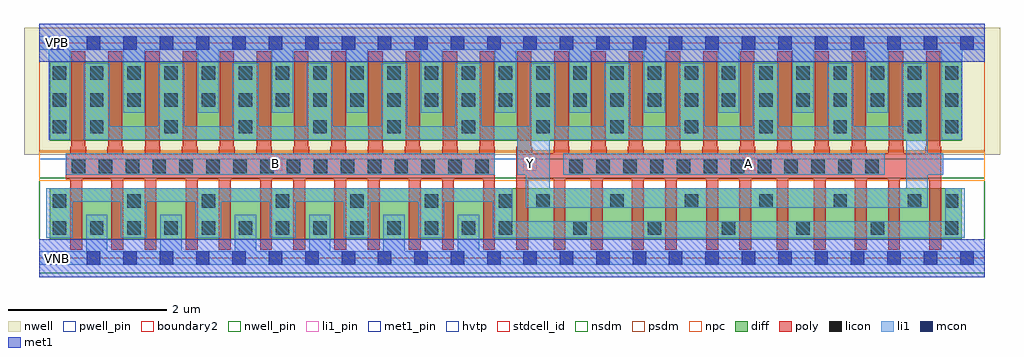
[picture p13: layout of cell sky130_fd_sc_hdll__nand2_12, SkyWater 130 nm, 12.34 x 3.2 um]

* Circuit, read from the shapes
.subckt sky130_fd_sc_hdll__nand2_12 A B VGND VNB VPB VPWR Y
XM1 VGND B n1 VNB sky130_fd_pr__nfet_01v8 w=0.65 l=0.15 m=12
XM2 Y A n1 VNB sky130_fd_pr__nfet_01v8 w=0.65 l=0.15 m=12
XM3 Y B VPWR VPB sky130_fd_pr__pfet_01v8_hvt w=1 l=0.18 m=12
XM4 Y A VPWR VPB sky130_fd_pr__pfet_01v8_hvt w=1 l=0.18 m=12
.ends

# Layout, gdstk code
import gdstk
lib = gdstk.Library(unit=1e-6, precision=1e-09)
def R(c, l, rs):  # rectangles x0, y0, x1, y1
    for r in rs: c.add(gdstk.rectangle(r[:2], r[2:], *l))
def A(c, l, x, y, w, h, nx, ny, dx, dy):  # array of equal rectangles
    R(c, l, [(x+i*dx, y+j*dy, x+i*dx+w, y+j*dy+h) for i in range(nx) for j in range(ny)])
def P(c, l, *ps):  # polygons
    for p in ps: c.add(gdstk.Polygon(p, *l))
nwell_pin = (64, 16)
nwell = (64, 20)
diff = (65, 20)
poly = (66, 20)
licon = (66, 44)
li1_pin = (67, 16)
li1 = (67, 20)
mcon = (67, 44)
met1_pin = (68, 16)
met1 = (68, 20)
hvtp = (78, 44)
stdcell_id = (81, 4)
nsdm = (93, 44)
psdm = (94, 20)
npc = (95, 20)
pwell_pin = (122, 16)
boundary2 = (236, 0)

sky130_fd_sc_hdll__nand2 = lib.new_cell('sky130_fd_sc_hdll__nand2_12')
R(sky130_fd_sc_hdll__nand2, nwell_pin, [(0.145,2.635,0.315,2.805)])
R(sky130_fd_sc_hdll__nand2, nwell, [(-0.19,1.305,12.15,2.91)])
R(sky130_fd_sc_hdll__nand2, diff, [(0.135,0.235,11.665,0.885), (0.135,1.485,11.665,2.485)])
P(sky130_fd_sc_hdll__nand2, poly, [(11.405,1.41),(11.395,1.41),(11.395,2.615),(11.215,2.615),(11.215,1.41),(11.205,1.41),(11.205,1.325),(10.935,1.325),(10.935,1.41),(10.925,1.41),(10.925,2.615),(10.745,2.615),(10.745,1.41),(10.735,1.41),(10.735,1.325),(10.465,1.325),(10.465,1.41),(10.455,1.41),(10.455,2.615),(10.275,2.615),(10.275,1.41),(10.265,1.41),(10.265,1.325),(9.995,1.325),(9.995,1.41),(9.985,1.41),(9.985,2.615),(9.805,2.615),(9.805,1.41),(9.795,1.41),(9.795,1.325),(9.525,1.325),(9.525,1.41),(9.515,1.41),(9.515,2.615),(9.335,2.615),(9.335,1.41),(9.325,1.41),(9.325,1.325),(9.055,1.325),(9.055,1.41),(9.045,1.41),(9.045,2.615),(8.865,2.615),(8.865,1.41),(8.855,1.41),(8.855,1.325),(8.585,1.325),(8.585,1.41),(8.575,1.41),(8.575,2.615),(8.395,2.615),(8.395,1.41),(8.385,1.41),(8.385,1.325),(8.115,1.325),(8.115,1.41),(8.105,1.41),(8.105,2.615),(7.925,2.615),(7.925,1.41),(7.915,1.41),(7.915,1.325),(7.645,1.325),(7.645,1.41),(7.635,1.41),(7.635,2.615),(7.455,2.615),(7.455,1.41),(7.445,1.41),(7.445,1.325),(7.175,1.325),(7.175,1.41),(7.165,1.41),(7.165,2.615),(6.985,2.615),(6.985,1.41),(6.975,1.41),(6.975,1.325),(6.705,1.325),(6.705,1.41),(6.695,1.41),(6.695,2.615),(6.515,2.615),(6.515,1.41),(6.505,1.41),(6.505,1.325),(6.235,1.325),(6.235,1.41),(6.225,1.41),(6.225,2.615),(6.045,2.615),(6.045,1.41),(6.035,1.41),(6.035,0.105),(6.185,0.105),(6.185,0.995),(6.505,0.995),(6.505,0.105),(6.655,0.105),(6.655,0.995),(6.975,0.995),(6.975,0.105),(7.125,0.105),(7.125,0.995),(7.495,0.995),(7.495,0.105),(7.645,0.105),(7.645,0.995),(7.915,0.995),(7.915,0.105),(8.065,0.105),(8.065,0.995),(8.435,0.995),(8.435,0.105),(8.585,0.105),(8.585,0.995),(8.855,0.995),(8.855,0.105),(9.005,0.105),(9.005,0.995),(9.325,0.995),(9.325,0.105),(9.475,0.105),(9.475,0.995),(9.795,0.995),(9.795,0.105),(9.945,0.105),(9.945,0.995),(10.315,0.995),(10.315,0.105),(10.465,0.105),(10.465,0.995),(10.735,0.995),(10.735,0.105),(10.885,0.105),(10.885,0.995),(11.255,0.995),(11.255,0.105),(11.405,0.105)],
  [(5.765,1.41),(5.755,1.41),(5.755,2.615),(5.575,2.615),(5.575,1.41),(5.565,1.41),(5.565,1.325),(5.295,1.325),(5.295,1.41),(5.285,1.41),(5.285,2.615),(5.105,2.615),(5.105,1.41),(5.095,1.41),(5.095,1.325),(4.825,1.325),(4.825,1.41),(4.815,1.41),(4.815,2.615),(4.635,2.615),(4.635,1.41),(4.625,1.41),(4.625,1.325),(4.355,1.325),(4.355,1.41),(4.345,1.41),(4.345,2.615),(4.165,2.615),(4.165,1.41),(4.155,1.41),(4.155,1.325),(3.885,1.325),(3.885,1.41),(3.875,1.41),(3.875,2.615),(3.695,2.615),(3.695,1.41),(3.685,1.41),(3.685,1.325),(3.415,1.325),(3.415,1.41),(3.405,1.41),(3.405,2.615),(3.225,2.615),(3.225,1.41),(3.215,1.41),(3.215,1.325),(2.945,1.325),(2.945,1.41),(2.935,1.41),(2.935,2.615),(2.755,2.615),(2.755,1.41),(2.745,1.41),(2.745,1.325),(2.475,1.325),(2.475,1.41),(2.465,1.41),(2.465,2.615),(2.285,2.615),(2.285,1.41),(2.275,1.41),(2.275,1.325),(2.005,1.325),(2.005,1.41),(1.995,1.41),(1.995,2.615),(1.815,2.615),(1.815,1.41),(1.805,1.41),(1.805,1.325),(1.535,1.325),(1.535,1.41),(1.525,1.41),(1.525,2.615),(1.345,2.615),(1.345,1.41),(1.335,1.41),(1.335,1.325),(1.065,1.325),(1.065,1.41),(1.055,1.41),(1.055,2.615),(0.875,2.615),(0.875,1.41),(0.865,1.41),(0.865,1.325),(0.595,1.325),(0.595,1.41),(0.585,1.41),(0.585,2.615),(0.405,2.615),(0.405,1.41),(0.395,1.41),(0.395,1.325),(0.335,1.325),(0.335,0.995),(0.395,0.995),(0.395,0.105),(0.545,0.105),(0.545,0.995),(0.915,0.995),(0.915,0.105),(1.065,0.105),(1.065,0.995),(1.335,0.995),(1.335,0.105),(1.485,0.105),(1.485,0.995),(1.855,0.995),(1.855,0.105),(2.005,0.105),(2.005,0.995),(2.275,0.995),(2.275,0.105),(2.425,0.105),(2.425,0.995),(2.795,0.995),(2.795,0.105),(2.945,0.105),(2.945,0.995),(3.215,0.995),(3.215,0.105),(3.365,0.105),(3.365,0.995),(3.735,0.995),(3.735,0.105),(3.885,0.105),(3.885,0.995),(4.155,0.995),(4.155,0.105),(4.305,0.105),(4.305,0.995),(4.675,0.995),(4.675,0.105),(4.825,0.105),(4.825,0.995),(5.095,0.995),(5.095,0.105),(5.245,0.105),(5.245,0.995),(5.615,0.995),(5.615,0.105),(5.765,0.105)])
A(sky130_fd_sc_hdll__nand2, licon, 0.175, 0.295, 0.17, 0.17, 13, 1, 0.47, 0)
A(sky130_fd_sc_hdll__nand2, licon, 6.755, 0.295, 0.17, 0.17, 6, 1, 0.94, 0)
A(sky130_fd_sc_hdll__nand2, licon, 0.175, 0.635, 0.17, 0.17, 7, 1, 0.94, 0)
A(sky130_fd_sc_hdll__nand2, licon, 6.285, 0.635, 0.17, 0.17, 6, 1, 0.94, 0)
A(sky130_fd_sc_hdll__nand2, licon, 0.415, 1.075, 0.17, 0.17, 16, 1, 0.34, 0)
A(sky130_fd_sc_hdll__nand2, licon, 6.705, 1.075, 0.17, 0.17, 12, 1, 0.34, 0)
A(sky130_fd_sc_hdll__nand2, licon, 0.645, 1.575, 0.17, 0.17, 12, 1, 0.94, 0)
A(sky130_fd_sc_hdll__nand2, licon, 0.175, 1.915, 0.17, 0.17, 25, 2, 0.47, 0.34)
R(sky130_fd_sc_hdll__nand2, licon, [(11.455,0.635,11.625,0.805), (0.175,1.575,0.345,1.745), (11.455,1.575,11.625,1.745)])
R(sky130_fd_sc_hdll__nand2, li1_pin, [(2.905,1.105,3.075,1.275), (6.125,1.105,6.295,1.275), (8.885,1.105,9.055,1.275)])
R(sky130_fd_sc_hdll__nand2, li1, [(0.335,1.055,5.765,1.325), (6.625,1.055,10.695,1.325)])
P(sky130_fd_sc_hdll__nand2, li1, [(11.96,0.085),(5.565,0.085),(5.565,0.545),(5.295,0.545),(5.295,0.085),(4.625,0.085),(4.625,0.545),(4.355,0.545),(4.355,0.085),(3.685,0.085),(3.685,0.545),(3.415,0.545),(3.415,0.085),(2.745,0.085),(2.745,0.545),(2.475,0.545),(2.475,0.085),(1.805,0.085),(1.805,0.545),(1.535,0.545),(1.535,0.085),(0.865,0.085),(0.865,0.545),(0.595,0.545),(0.595,0.085),(0,0.085),(0,-0.085),(11.96,-0.085)],
  [(11.96,2.805),(0,2.805),(0,2.635),(0.125,2.635),(0.125,1.495),(0.395,1.495),(0.395,2.635),(1.065,2.635),(1.065,1.835),(1.335,1.835),(1.335,2.635),(2.005,2.635),(2.005,1.835),(2.275,1.835),(2.275,2.635),(2.945,2.635),(2.945,1.835),(3.215,1.835),(3.215,2.635),(3.885,2.635),(3.885,1.835),(4.155,1.835),(4.155,2.635),(4.825,2.635),(4.825,1.835),(5.095,1.835),(5.095,2.635),(5.765,2.635),(5.765,1.835),(6.035,1.835),(6.035,2.635),(6.705,2.635),(6.705,1.835),(6.975,1.835),(6.975,2.635),(7.645,2.635),(7.645,1.835),(7.915,1.835),(7.915,2.635),(8.585,2.635),(8.585,1.835),(8.855,1.835),(8.855,2.635),(9.525,2.635),(9.525,1.835),(9.795,1.835),(9.795,2.635),(10.465,2.635),(10.465,1.835),(10.735,1.835),(10.735,2.635),(11.405,2.635),(11.405,1.495),(11.675,1.495),(11.675,2.635),(11.96,2.635)],
  [(11.435,1.325),(11.235,1.325),(11.235,2.465),(10.965,2.465),(10.965,0.885),(6.455,0.885),(6.455,1.495),(10.965,1.495),(10.965,2.465),(10.905,2.465),(10.905,1.665),(10.295,1.665),(10.295,2.465),(9.965,2.465),(9.965,1.665),(9.355,1.665),(9.355,2.465),(9.025,2.465),(9.025,1.665),(8.415,1.665),(8.415,2.465),(8.085,2.465),(8.085,1.665),(7.475,1.665),(7.475,2.465),(7.145,2.465),(7.145,1.665),(6.535,1.665),(6.535,2.465),(6.205,2.465),(6.205,1.665),(5.595,1.665),(5.595,2.465),(5.265,2.465),(5.265,1.665),(4.655,1.665),(4.655,2.465),(4.325,2.465),(4.325,1.665),(3.715,1.665),(3.715,2.465),(3.385,2.465),(3.385,1.665),(2.775,1.665),(2.775,2.465),(2.445,2.465),(2.445,1.665),(1.835,1.665),(1.835,2.465),(1.505,2.465),(1.505,1.665),(0.895,1.665),(0.895,2.465),(0.565,2.465),(0.565,1.495),(6.045,1.495),(6.045,1.055),(6.155,1.055),(6.155,0.635),(11.235,0.635),(11.235,1.055),(11.435,1.055)],
  [(11.705,0.885),(11.455,0.885),(11.455,0.465),(5.985,0.465),(5.985,0.885),(0.09,0.885),(0.09,0.255),(0.425,0.255),(0.425,0.715),(1.035,0.715),(1.035,0.255),(1.365,0.255),(1.365,0.715),(1.975,0.715),(1.975,0.255),(2.305,0.255),(2.305,0.715),(2.915,0.715),(2.915,0.255),(3.245,0.255),(3.245,0.715),(3.855,0.715),(3.855,0.255),(4.185,0.255),(4.185,0.715),(4.795,0.715),(4.795,0.255),(5.125,0.255),(5.125,0.715),(5.735,0.715),(5.735,0.255),(11.705,0.255)])
A(sky130_fd_sc_hdll__nand2, mcon, 0.145, -0.085, 0.17, 0.17, 26, 2, 0.46, 2.72)
R(sky130_fd_sc_hdll__nand2, met1_pin, [(0.145,-0.085,0.315,0.085), (0.145,2.635,0.315,2.805)])
R(sky130_fd_sc_hdll__nand2, met1, [(0,-0.24,11.96,0.24), (0,2.48,11.96,2.96)])
R(sky130_fd_sc_hdll__nand2, hvtp, [(0,1.25,11.96,2.72)])
R(sky130_fd_sc_hdll__nand2, stdcell_id, [(0,0,11.96,2.72)])
R(sky130_fd_sc_hdll__nand2, nsdm, [(0,-0.19,11.96,1.015)])
R(sky130_fd_sc_hdll__nand2, psdm, [(0,1.355,11.96,2.91)])
R(sky130_fd_sc_hdll__nand2, npc, [(0,0.975,11.96,1.345)])
R(sky130_fd_sc_hdll__nand2, pwell_pin, [(0.145,-0.085,0.315,0.085)])
R(sky130_fd_sc_hdll__nand2, boundary2, [(0,0,11.96,2.72)])
sky130_fd_sc_hdll__nand2.add(gdstk.Label('Y', (6.21,1.19), layer=67, texttype=5))
sky130_fd_sc_hdll__nand2.add(gdstk.Label('A', (8.97,1.19), layer=67, texttype=5))
sky130_fd_sc_hdll__nand2.add(gdstk.Label('B', (2.99,1.19), layer=67, texttype=5))
sky130_fd_sc_hdll__nand2.add(gdstk.Label('VPB', (0.23,2.72), layer=64, texttype=5))
sky130_fd_sc_hdll__nand2.add(gdstk.Label('VNB', (0.23,0), layer=64, texttype=59))
sky130_fd_sc_hdll__nand2.add(gdstk.Label('VGND', (0.23,0), layer=68, texttype=5))
sky130_fd_sc_hdll__nand2.add(gdstk.Label('VPWR', (0.23,2.72), layer=68, texttype=5))
sky130_fd_sc_hdll__nand2.add(gdstk.Label('nand2_12', (0,0), layer=83, texttype=44))

lib.write_gds('sky130_fd_sc_hdll__nand2_12.gds')
